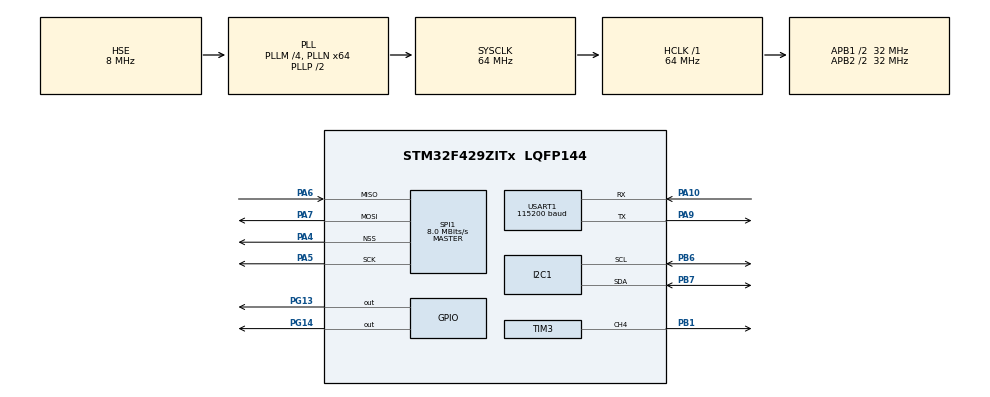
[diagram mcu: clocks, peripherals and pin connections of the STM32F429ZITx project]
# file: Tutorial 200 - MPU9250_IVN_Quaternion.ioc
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I2C1.I2C_Mode=I2C_Fast
Mcu.Family=STM32F4
Mcu.Name=STM32F429ZITx
Mcu.Package=LQFP144
NVIC.PriorityGroup=NVIC_PRIORITYGROUP_4
NVIC.USART1_IRQn=true\:0\:0\:false\:true\:true\:1\:true\:true
PA10.GPIO_Speed=GPIO_SPEED_FREQ_VERY_HIGH
PA10.Mode=Asynchronous
PA10.Signal=USART1_RX
PA4.GPIO_Speed=GPIO_SPEED_FREQ_LOW
PA4.Mode=NSS_Signal_Hard_Output
PA4.Signal=SPI1_NSS
PA5.GPIO_Speed=GPIO_SPEED_FREQ_MEDIUM
PA5.Mode=Full_Duplex_Master
PA5.Signal=SPI1_SCK
PA6.GPIO_Speed=GPIO_SPEED_FREQ_MEDIUM
PA6.Mode=Full_Duplex_Master
PA6.Signal=SPI1_MISO
PA7.GPIO_Speed=GPIO_SPEED_FREQ_MEDIUM
PA7.Mode=Full_Duplex_Master
PA7.Signal=SPI1_MOSI
PA9.GPIO_Speed=GPIO_SPEED_FREQ_VERY_HIGH
PA9.Mode=Asynchronous
PA9.Signal=USART1_TX
PB1.Signal=S_TIM3_CH4
PB6.Mode=I2C
PB6.Signal=I2C1_SCL
PB7.Mode=I2C
PB7.Signal=I2C1_SDA
PG13.Signal=GPIO_Output
PG14.Signal=GPIO_Output
PH0/OSC_IN.Mode=HSE-External-Oscillator
PH0/OSC_IN.Signal=RCC_OSC_IN
PH1/OSC_OUT.Mode=HSE-External-Oscillator
PH1/OSC_OUT.Signal=RCC_OSC_OUT
ProjectManager.HeapSize=0x200
ProjectManager.StackSize=0x400
ProjectManager.TargetToolchain=STM32CubeIDE
RCC.48MHZClocksFreq_Value=32000000
RCC.AHBFreq_Value=64000000
RCC.APB1CLKDivider=RCC_HCLK_DIV2
RCC.APB1Freq_Value=32000000
RCC.APB1TimFreq_Value=64000000
RCC.APB2CLKDivider=RCC_HCLK_DIV2
RCC.APB2Freq_Value=32000000
RCC.APB2TimFreq_Value=64000000
RCC.CortexFreq_Value=64000000
RCC.HCLKFreq_Value=64000000
RCC.HSE_VALUE=8000000
RCC.HSI_VALUE=16000000
RCC.LSE_VALUE=32768
RCC.PLLM=4
RCC.PLLN=64
RCC.PLLSourceVirtual=RCC_PLLSOURCE_HSE
RCC.SYSCLKFreq_VALUE=64000000
RCC.SYSCLKSource=RCC_SYSCLKSOURCE_PLLCLK
RCC.VCOOutputFreq_Value=128000000
SH.S_TIM3_CH4.0=TIM3_CH4,PWM Generation4 CH4
SPI1.BaudRatePrescaler=SPI_BAUDRATEPRESCALER_4
SPI1.CLKPhase=SPI_PHASE_2EDGE
SPI1.CLKPolarity=SPI_POLARITY_HIGH
SPI1.CalculateBaudRate=8.0 MBits/s
SPI1.Direction=SPI_DIRECTION_2LINES
SPI1.Mode=SPI_MODE_MASTER
SPI1.VirtualNSS=VM_NSSHARD
SPI1.VirtualType=VM_MASTER
TIM3.AutoReloadPreload=TIM_AUTORELOAD_PRELOAD_DISABLE
TIM3.Channel-PWM\ Generation4\ CH4=TIM_CHANNEL_4
TIM3.Period=80-1
TIM3.Prescaler=100-1
TIM3.Pulse-PWM\ Generation4\ CH4=40-1
USART1.BaudRate=115200
USART1.VirtualMode=VM_ASYNC
VP_TIM3_VS_ClockSourceINT.Mode=Internal
board=custom

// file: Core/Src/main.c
/* USER CODE BEGIN Header */
/**
  ******************************************************************************
  * @file           : main.c
  * @brief          : Main program body
  ******************************************************************************
  * @attention
  *
  * <h2><center>&copy; Copyright (c) 2021 STMicroelectronics.
  * All rights reserved.</center></h2>
  *
  * This software component is licensed by ST under BSD 3-Clause license,
  * the "License"; You may not use this file except in compliance with the
  * License. You may obtain a copy of the License at:
  *                        opensource.org/licenses/BSD-3-Clause
  *
  ******************************************************************************
  */
/* USER CODE END Header */
#include "main.h"
#include "i2c.h"
#include "spi.h"
#include "tim.h"
#include "usart.h"
#include "gpio.h"

/* USER CODE BEGIN Includes */
//#include "m_motion.h"
//#include "mltypes.h"

#include "drv_mpu9250.h"

#include "inv_mpu.h"
#include "inv_mpu_dmp_motion_driver.h"
#include "invensense.h"
#include "invensense_adv.h"
#include "eMPL_outputs.h"
#include "mltypes.h"
#include "mpu.h"
#include "log.h"
#include "packet.h"

/* Data read from MPL. */
#define PRINT_ACCEL     (0x01)
#define PRINT_GYRO      (0x02)
#define PRINT_QUAT      (0x04)
#define PRINT_COMPASS   (0x08)
#define PRINT_EULER     (0x10)
#define PRINT_ROT_MAT   (0x20)
#define PRINT_HEADING   (0x40)
#define PRINT_PEDO      (0x80)
#define PRINT_LINEAR_ACCEL (0x100)
#define PRINT_GRAVITY_VECTOR (0x200)

#define ACCEL_ON        (0x01)
#define GYRO_ON         (0x02)
#define COMPASS_ON      (0x04)

#define MOTION          (0)
#define NO_MOTION       (1)

/* Starting sampling rate. */
#define DEFAULT_MPU_HZ  (20)

#define FLASH_SIZE      (512)
#define FLASH_MEM_START ((void*)0x1800)

#define PEDO_READ_MS    (1000)
#define TEMP_READ_MS    (500)
#define COMPASS_READ_MS (100)
struct rx_s {
    unsigned char header[3];
    unsigned char cmd;
};
struct hal_s {
    unsigned char lp_accel_mode;
    unsigned char sensors;
    unsigned char dmp_on;
    unsigned char wait_for_tap;
    volatile unsigned char new_gyro;
    unsigned char motion_int_mode;
    unsigned long no_dmp_hz;
    unsigned long next_pedo_ms;
    unsigned long next_temp_ms;
    unsigned long next_compass_ms;
    unsigned int report;
    unsigned short dmp_features;
    struct rx_s rx;
};
static struct hal_s hal = {0};

/* USB RX binary semaphore. Actually, it's just a flag. Not included in struct
 * because it's declared extern elsewhere.
 */
volatile unsigned char rx_new;

unsigned char *mpl_key = (unsigned char*)"eMPL 5.1";

/* Platform-specific information. Kinda like a boardfile. */
struct platform_data_s {
    signed char orientation[9];
};

/* The sensors can be mounted onto the board in any orientation. The mounting
 * matrix seen below tells the MPL how to rotate the raw data from the
 * driver(s).
 * TODO: The following matrices refer to the configuration on internal test
 * boards at Invensense. If needed, please modify the matrices to match the
 * chip-to-body matrix for your particular set up.
 */
static struct platform_data_s gyro_pdata = {
    .orientation = { 1, 0, 0,
                     0, 1, 0,
                     0, 0, 1}
};

#if defined MPU9150 || defined MPU9250
static struct platform_data_s compass_pdata = {
    .orientation = { 0, 1, 0,
                     1, 0, 0,
                     0, 0,-1}
};
#define COMPASS_ENABLED 1
#elif defined AK8975_SECONDARY
static struct platform_data_s compass_pdata = {
    .orientation = {-1, 0, 0,
                     0, 1, 0,
                     0, 0,-1}
};
#define COMPASS_ENABLED 1
#elif defined AK8963_SECONDARY
static struct platform_data_s compass_pdata = {
    .orientation = {-1, 0, 0,
                     0,-1, 0,
                     0, 0, 1}
};
#define COMPASS_ENABLED 1
#endif

/* Get data from MPL.
 * TODO: Add return values to the inv_get_sensor_type_xxx APIs to differentiate
 * between new and stale data.
 */
//static void read_from_mpl(void)
//{
//    long msg, data[9];
//    int8_t accuracy;
//    unsigned long timestamp;
//    float float_data[3] = {0};
//
//    if (inv_get_sensor_type_quat(data, &accuracy, (inv_time_t*)&timestamp)) {
//       /* Sends a quaternion packet to the PC. Since this is used by the Python
//        * test app to visually represent a 3D quaternion, it's sent each time
//        * the MPL has new data.
//        */
//        eMPL_send_quat(data);
//
//        /* Specific data packets can be sent or suppressed using USB commands. */
//        if (hal.report & PRINT_QUAT)
//            eMPL_send_data(PACKET_DATA_QUAT, data);
//    }
//
//    if (hal.report & PRINT_ACCEL) {
//        if (inv_get_sensor_type_accel(data, &accuracy,
//            (inv_time_t*)&timestamp))
//            eMPL_send_data(PACKET_DATA_ACCEL, data);
//    }
//    if (hal.report & PRINT_GYRO) {
//        if (inv_get_sensor_type_gyro(data, &accuracy,
//            (inv_time_t*)&timestamp))
//            eMPL_send_data(PACKET_DATA_GYRO, data);
//    }
//#ifdef COMPASS_ENABLED
//    if (hal.report & PRINT_COMPASS) {
//        if (inv_get_sensor_type_compass(data, &accuracy,
//            (inv_time_t*)&timestamp))
//            eMPL_send_data(PACKET_DATA_COMPASS, data);
//    }
//#endif
//    if (hal.report & PRINT_EULER) {
//        if (inv_get_sensor_type_euler(data, &accuracy,
//            (inv_time_t*)&timestamp))
//            eMPL_send_data(PACKET_DATA_EULER, data);
//    }
//    if (hal.report & PRINT_ROT_MAT) {
//        if (inv_get_sensor_type_rot_mat(data, &accuracy,
//            (inv_time_t*)&timestamp))
//            eMPL_send_data(PACKET_DATA_ROT, data);
//    }
//    if (hal.report & PRINT_HEADING) {
//        if (inv_get_sensor_type_heading(data, &accuracy,
//            (inv_time_t*)&timestamp))
//            eMPL_send_data(PACKET_DATA_HEADING, data);
//    }
//    if (hal.report & PRINT_LINEAR_ACCEL) {
//        if (inv_get_sensor_type_linear_acceleration(float_data, &accuracy, (inv_time_t*)&timestamp)) {
//          MPL_LOGI("Linear Accel: %7.5f %7.5f %7.5f\r\n",
//              float_data[0], float_data[1], float_data[2]);
//         }
//    }
//    if (hal.report & PRINT_GRAVITY_VECTOR) {
//            if (inv_get_sensor_type_gravity(float_data, &accuracy,
//                (inv_time_t*)&timestamp))
//              MPL_LOGI("Gravity Vector: %7.5f %7.5f %7.5f\r\n",
//                  float_data[0], float_data[1], float_data[2]);
//    }
//    if (hal.report & PRINT_PEDO) {
//        unsigned long timestamp;
//        msp430_get_clock_ms(&timestamp);
//        if (timestamp > hal.next_pedo_ms) {
//            hal.next_pedo_ms = timestamp + PEDO_READ_MS;
//            unsigned long step_count, walk_time;
//            dmp_get_pedometer_step_count(&step_count);
//            dmp_get_pedometer_walk_time(&walk_time);
//            MPL_LOGI("Walked %ld steps over %ld milliseconds..\n", step_count,
//            walk_time);
//        }
//    }
//
//    /* Whenever the MPL detects a change in motion state, the application can
//     * be notified. For this example, we use an LED to represent the current
//     * motion state.
//     */
//    msg = inv_get_message_level_0(INV_MSG_MOTION_EVENT |
//            INV_MSG_NO_MOTION_EVENT);
//    if (msg) {
//        if (msg & INV_MSG_MOTION_EVENT) {
//            MPL_LOGI("Motion!\n");
//        } else if (msg & INV_MSG_NO_MOTION_EVENT) {
//            MPL_LOGI("No motion!\n");
//        }
//    }
//}

//#ifdef COMPASS_ENABLED
//void send_status_compass() {
//  long data[3] = { 0 };
//  int8_t accuracy = { 0 };
//  unsigned long timestamp;
//  inv_get_compass_set(data, &accuracy, (inv_time_t*) &timestamp);
//  MPL_LOGI("Compass: %7.4f %7.4f %7.4f ",
//      data[0]/65536.f, data[1]/65536.f, data[2]/65536.f);
//  MPL_LOGI("Accuracy= %d\r\n", accuracy);
//
//}
//#endif

/* Handle sensor on/off combinations. */
//static void setup_gyro(void)
//{
//    unsigned char mask = 0, lp_accel_was_on = 0;
//    if (hal.sensors & ACCEL_ON)
//        mask |= INV_XYZ_ACCEL;
//    if (hal.sensors & GYRO_ON) {
//        mask |= INV_XYZ_GYRO;
//        lp_accel_was_on |= hal.lp_accel_mode;
//    }
//#ifdef COMPASS_ENABLED
//    if (hal.sensors & COMPASS_ON) {
//        mask |= INV_XYZ_COMPASS;
//        lp_accel_was_on |= hal.lp_accel_mode;
//    }
//#endif
//    /* If you need a power transition, this function should be called with a
//     * mask of the sensors still enabled. The driver turns off any sensors
//     * excluded from this mask.
//     */
//    mpu_set_sensors(mask);
//    mpu_configure_fifo(mask);
//    if (lp_accel_was_on) {
//        unsigned short rate;
//        hal.lp_accel_mode = 0;
//        /* Switching out of LP accel, notify MPL of new accel sampling rate. */
//        mpu_get_sample_rate(&rate);
//        inv_set_accel_sample_rate(1000000L / rate);
//    }
//}

//static void tap_cb(unsigned char direction, unsigned char count)
//{
//    switch (direction) {
//    case TAP_X_UP:
//        MPL_LOGI("Tap X+ ");
//        break;
//    case TAP_X_DOWN:
//        MPL_LOGI("Tap X- ");
//        break;
//    case TAP_Y_UP:
//        MPL_LOGI("Tap Y+ ");
//        break;
//    case TAP_Y_DOWN:
//        MPL_LOGI("Tap Y- ");
//        break;
//    case TAP_Z_UP:
//        MPL_LOGI("Tap Z+ ");
//        break;
//    case TAP_Z_DOWN:
//        MPL_LOGI("Tap Z- ");
//        break;
//    default:
//        return;
//    }
//    MPL_LOGI("x%d\n", count);
//    return;
//}

//static void android_orient_cb(unsigned char orientation)
//{
//  switch (orientation) {
//  case ANDROID_ORIENT_PORTRAIT:
//        MPL_LOGI("Portrait\n");
//        break;
//  case ANDROID_ORIENT_LANDSCAPE:
//        MPL_LOGI("Landscape\n");
//        break;
//  case ANDROID_ORIENT_REVERSE_PORTRAIT:
//        MPL_LOGI("Reverse Portrait\n");
//        break;
//  case ANDROID_ORIENT_REVERSE_LANDSCAPE:
//        MPL_LOGI("Reverse Landscape\n");
//        break;
//  default:
//    return;
//  }
//}

//static inline void msp430_reset(void)
//{
//    PMMCTL0 |= PMMSWPOR;
//}

//static inline void run_self_test(void)
//{
//    int result;
//    long gyro[3], accel[3];
//
//#if defined (MPU6500) || defined (MPU9250)
//    result = mpu_run_6500_self_test(gyro, accel, 0);
//#elif defined (MPU6050) || defined (MPU9150)
//    result = mpu_run_self_test(gyro, accel);
//#endif
//    if (result == 0x7) {
//    MPL_LOGI("Passed!\n");
//        MPL_LOGI("accel: %7.4f %7.4f %7.4f\n",
//                    accel[0]/65536.f,
//                    accel[1]/65536.f,
//                    accel[2]/65536.f);
//        MPL_LOGI("gyro: %7.4f %7.4f %7.4f\n",
//                    gyro[0]/65536.f,
//                    gyro[1]/65536.f,
//                    gyro[2]/65536.f);
//        /* Test passed. We can trust the gyro data here, so now we need to update calibrated data*/
//
//#ifdef USE_CAL_HW_REGISTERS
//        /*
//         * This portion of the code uses the HW offset registers that are in the MPUxxxx devices
//         * instead of pushing the cal data to the MPL software library
//         */
//        unsigned char i = 0;
//
//        for(i = 0; i<3; i++) {
//          gyro[i] = (long)(gyro[i] * 32.8f); //convert to +-1000dps
//          accel[i] *=  2048.f; //convert to +-16G (bug fix from +-8G)
//          accel[i] = accel[i] >> 16;
//          gyro[i] = (long)(gyro[i] >> 16);
//        }
//
//        mpu_set_gyro_bias_reg(gyro);
//
//#if defined (MPU6500) || defined (MPU9250)
//        mpu_set_accel_bias_6500_reg(accel);
//#elif defined (MPU6050) || defined (MPU9150)
//        mpu_set_accel_bias_6050_reg(accel);
//#endif
//#else
//        /* Push the calibrated data to the MPL library.
//         *
//         * MPL expects biases in hardware units << 16, but self test returns
//     * biases in g's << 16.
//     */
//      unsigned short accel_sens;
//      float gyro_sens;
//
//    mpu_get_accel_sens(&accel_sens);
//    accel[0] *= accel_sens;
//    accel[1] *= accel_sens;
//    accel[2] *= accel_sens;
//    inv_set_accel_bias(accel, 3);
//    mpu_get_gyro_sens(&gyro_sens);
//    gyro[0] = (long) (gyro[0] * gyro_sens);
//    gyro[1] = (long) (gyro[1] * gyro_sens);
//    gyro[2] = (long) (gyro[2] * gyro_sens);
//    inv_set_gyro_bias(gyro, 3);
//#endif
//    }
//    else {
//            if (!(result & 0x1))
//                MPL_LOGE("Gyro failed.\n");
//            if (!(result & 0x2))
//                MPL_LOGE("Accel failed.\n");
//            if (!(result & 0x4))
//                MPL_LOGE("Compass failed.\n");
//     }
//
//}

/* Every time new gyro data is available, this function is called in an
 * ISR context. In this example, it sets a flag protecting the FIFO read
 * function.
 */
static void gyro_data_ready_cb(void)
{
    hal.new_gyro = 1;
}

/* USER CODE END Includes */

/* USER CODE BEGIN PV */
#define MPU9250_ADDRESS     (0x68 << 1)

uint8_t data[2] = {0,};
uint8_t recvData[1] = {0,};
/* USER CODE END PV */

void SystemClock_Config(void);
static void MX_NVIC_Init(void);
/* USER CODE BEGIN PFP */
int _write(int file, char *ptr, int len)
{
  HAL_UART_Transmit(&huart1, (uint8_t *)ptr, len, 10);
  return len;
}
/* USER CODE END PFP */

int main(void)
{

  /* MCU Configuration--------------------------------------------------------*/

  /* Reset of all peripherals, Initializes the Flash interface and the Systick. */
  HAL_Init();

  /* Configure the system clock */
  SystemClock_Config();

  /* Initialize all configured peripherals */
  MX_GPIO_Init();
  MX_USART1_UART_Init();
  MX_SPI1_Init();
  MX_TIM3_Init();
  MX_I2C1_Init();

  /* Initialize interrupts */
  MX_NVIC_Init();
  /* USER CODE BEGIN 2 */

  printf("Application Start ---------------------------\n\r");

  drv_mpu9250_init_t mpu_param;
  mpu_param.I2Chnd = &hi2c1;
  drv_mpu9250_init(&mpu_param);

  inv_error_t result;
  unsigned char accel_fsr,  new_temp = 0;
  unsigned short gyro_rate, gyro_fsr;
  unsigned long timestamp;
  struct int_param_s int_param;

  #ifdef COMPASS_ENABLED
      unsigned char new_compass = 0;
      unsigned short compass_fsr;
  #endif

  int_param.cb = gyro_data_ready_cb;
  result = mpu_init(&int_param);
  if (result) {
      MPL_LOGE("Could not initialize gyro.\n");
//      msp430_reset();
  }

  result = inv_init_mpl();
  if (result) {
      MPL_LOGE("Could not initialize MPL.\n");
//      msp430_reset();
  }

  /* Compute 6-axis and 9-axis quaternions. */
  inv_enable_quaternion();
  inv_enable_9x_sensor_fusion();

  inv_enable_fast_nomot();
  inv_enable_gyro_tc();

#ifdef COMPASS_ENABLED
    /* Compass calibration algorithms. */
    inv_enable_vector_compass_cal();
    inv_enable_magnetic_disturbance();
#endif

    /* Allows use of the MPL APIs in read_from_mpl. */
    inv_enable_eMPL_outputs();

    result = inv_start_mpl();
    if (result == INV_ERROR_NOT_AUTHORIZED) {
        while (1) {
            MPL_LOGE("Not authorized.\n");
            delay_ms(5000);
        }
    }
    if (result) {
        MPL_LOGE("Could not start the MPL.\n");
//        msp430_reset();
    }

    /* Get/set hardware configuration. Start gyro. */
        /* Wake up all sensors. */
    #ifdef COMPASS_ENABLED
        mpu_set_sensors(INV_XYZ_GYRO | INV_XYZ_ACCEL | INV_XYZ_COMPASS);
    #else
        mpu_set_sensors(INV_XYZ_GYRO | INV_XYZ_ACCEL);
    #endif
        /* Push both gyro and accel data into the FIFO. */
        mpu_configure_fifo(INV_XYZ_GYRO | INV_XYZ_ACCEL);
        mpu_set_sample_rate(DEFAULT_MPU_HZ);
    #ifdef COMPASS_ENABLED
        /* The compass sampling rate can be less than the gyro/accel sampling rate.
         * Use this function for proper power management.
         */
        mpu_set_compass_sample_rate(1000 / COMPASS_READ_MS);
    #endif
        /* Read back configuration in case it was set improperly. */
        mpu_get_sample_rate(&gyro_rate);
        mpu_get_gyro_fsr(&gyro_fsr);
        mpu_get_accel_fsr(&accel_fsr);
    #ifdef COMPASS_ENABLED
        mpu_get_compass_fsr(&compass_fsr);
    #endif
        /* Sync driver configuration with MPL. */
        /* Sample rate expected in microseconds. */
        inv_set_gyro_sample_rate(1000000L / gyro_rate);
        inv_set_accel_sample_rate(1000000L / gyro_rate);
    #ifdef COMPASS_ENABLED
        /* The compass rate is independent of the gyro and accel rates. As long as
         * inv_set_compass_sample_rate is called with the correct value, the 9-axis
         * fusion algorithm's compass correction gain will work properly.
         */
        inv_set_compass_sample_rate(COMPASS_READ_MS * 1000L);
    #endif
        /* Set chip-to-body orientation matrix.
         * Set hardware units to dps/g's/degrees scaling factor.
         */
        inv_set_gyro_orientation_and_scale(
                inv_orientation_matrix_to_scalar(gyro_pdata.orientation),
                (long)gyro_fsr<<15);
        inv_set_accel_orientation_and_scale(
                inv_orientation_matrix_to_scalar(gyro_pdata.orientation),
                (long)accel_fsr<<15);
    #ifdef COMPASS_ENABLED
        inv_set_compass_orientation_and_scale(
                inv_orientation_matrix_to_scalar(compass_pdata.orientation),
                (long)compass_fsr<<15);
    #endif
        /* Initialize HAL state variables. */
    #ifdef COMPASS_ENABLED
        hal.sensors = ACCEL_ON | GYRO_ON | COMPASS_ON;
    #else
        hal.sensors = ACCEL_ON | GYRO_ON;
    #endif
        hal.dmp_on = 0;
        hal.report = 0;
        hal.rx.cmd = 0;
        hal.next_pedo_ms = 0;
        hal.next_compass_ms = 0;
        hal.next_temp_ms = 0;

        /* Compass reads are handled by scheduler. */
        get_tick_count(&timestamp);

    if (dmp_load_motion_driver_firmware()) {
            MPL_LOGE("Could not download DMP.\n");
//            msp430_reset();
    }
    dmp_set_orientation(
        inv_orientation_matrix_to_scalar(gyro_pdata.orientation));
//    dmp_register_tap_cb(tap_cb);
//    dmp_register_android_orient_cb(android_orient_cb);
    /*
     * Known Bug -
     * DMP when enabled will sample sensor data at 200Hz and output to FIFO at the rate
     * specified in the dmp_set_fifo_rate API. The DMP will then sent an interrupt once
     * a sample has been put into the FIFO. Therefore if the dmp_set_fifo_rate is at 25Hz
     * there will be a 25Hz interrupt from the MPU device.
     *
     * There is a known issue in which if you do not enable DMP_FEATURE_TAP
     * then the interrupts will be at 200Hz even if fifo rate
     * is set at a different rate. To avoid this issue include the DMP_FEATURE_TAP
     *
     * DMP sensor fusion works only with gyro at +-2000dps and accel +-2G
     */
    hal.dmp_features = DMP_FEATURE_6X_LP_QUAT | DMP_FEATURE_TAP |
        DMP_FEATURE_ANDROID_ORIENT | DMP_FEATURE_SEND_RAW_ACCEL | DMP_FEATURE_SEND_CAL_GYRO |
        DMP_FEATURE_GYRO_CAL;
    dmp_enable_feature(hal.dmp_features);
    dmp_set_fifo_rate(DEFAULT_MPU_HZ);
    inv_set_quat_sample_rate(1000000L / DEFAULT_MPU_HZ);
    mpu_set_dmp_state(1);
    hal.dmp_on = 1;

  /* USER CODE END 2 */

  while (1)
  {
    HAL_GPIO_TogglePin(GPIOG, GPIO_PIN_13);
//    HAL_Delay(100);

    /* USER CODE END WHILE */

    /* USER CODE BEGIN 3 */

    unsigned long sensor_timestamp;
    int new_data = 0;

#ifdef COMPASS_ENABLED
    /* We're not using a data ready interrupt for the compass, so we'll
     * make our compass reads timer-based instead.
     */
    if ((timestamp > hal.next_compass_ms) && !hal.lp_accel_mode &&
        hal.new_gyro && (hal.sensors & COMPASS_ON)) {
        hal.next_compass_ms = timestamp + COMPASS_READ_MS;
        new_compass = 1;
    }
#endif

//    short accel_short[3];
//    long accel[3];
//    mpu_get_accel_reg(accel_short, &sensor_timestamp);
//    accel[0] = (long)accel_short[0];
//    accel[1] = (long)accel_short[1];
//    accel[2] = (long)accel_short[2];
//    inv_build_accel(accel, 0, sensor_timestamp);
//    printf("Acc: %d, %d, %d\n\r", accel[0], accel[1], accel[2]);

    short gyro[3], accel_short[3], sensors;
    unsigned char more;
    long accel[3], quat[4], temperature;

    dmp_read_fifo(gyro, accel_short, quat, &sensor_timestamp, &sensors, &more);
    inv_build_quat(quat, 0, sensor_timestamp);

    printf("quat: %d, %d, %d, %d\n\r", quat[0], quat[1], quat[2], quat[3]);

  }
  /* USER CODE END 3 */
}

void SystemClock_Config(void)
{
  RCC_OscInitTypeDef RCC_OscInitStruct = {0};
  RCC_ClkInitTypeDef RCC_ClkInitStruct = {0};

  /** Configure the main internal regulator output voltage
  */
  __HAL_RCC_PWR_CLK_ENABLE();
  __HAL_PWR_VOLTAGESCALING_CONFIG(PWR_REGULATOR_VOLTAGE_SCALE3);
  /** Initializes the RCC Oscillators according to the specified parameters
  * in the RCC_OscInitTypeDef structure.
  */
  RCC_OscInitStruct.OscillatorType = RCC_OSCILLATORTYPE_HSE;
  RCC_OscInitStruct.HSEState = RCC_HSE_ON;
  RCC_OscInitStruct.PLL.PLLState = RCC_PLL_ON;
  RCC_OscInitStruct.PLL.PLLSource = RCC_PLLSOURCE_HSE;
  RCC_OscInitStruct.PLL.PLLM = 4;
  RCC_OscInitStruct.PLL.PLLN = 64;
  RCC_OscInitStruct.PLL.PLLP = RCC_PLLP_DIV2;
  RCC_OscInitStruct.PLL.PLLQ = 4;
  if (HAL_RCC_OscConfig(&RCC_OscInitStruct) != HAL_OK)
  {
    Error_Handler();
  }
  /** Initializes the CPU, AHB and APB buses clocks
  */
  RCC_ClkInitStruct.ClockType = RCC_CLOCKTYPE_HCLK|RCC_CLOCKTYPE_SYSCLK
                              |RCC_CLOCKTYPE_PCLK1|RCC_CLOCKTYPE_PCLK2;
  RCC_ClkInitStruct.SYSCLKSource = RCC_SYSCLKSOURCE_PLLCLK;
  RCC_ClkInitStruct.AHBCLKDivider = RCC_SYSCLK_DIV1;
  RCC_ClkInitStruct.APB1CLKDivider = RCC_HCLK_DIV2;
  RCC_ClkInitStruct.APB2CLKDivider = RCC_HCLK_DIV2;

  if (HAL_RCC_ClockConfig(&RCC_ClkInitStruct, FLASH_LATENCY_2) != HAL_OK)
  {
    Error_Handler();
  }
}

/**
  * @brief NVIC Configuration.
  * @retval None
  */
static void MX_NVIC_Init(void)
{
  /* USART1_IRQn interrupt configuration */
  HAL_NVIC_SetPriority(USART1_IRQn, 0, 0);
  HAL_NVIC_EnableIRQ(USART1_IRQn);
}

void Error_Handler(void)
{
  __disable_irq();
  while (1)
  {
  }
}

/************************ (C) COPYRIGHT STMicroelectronics *****END OF FILE****/
